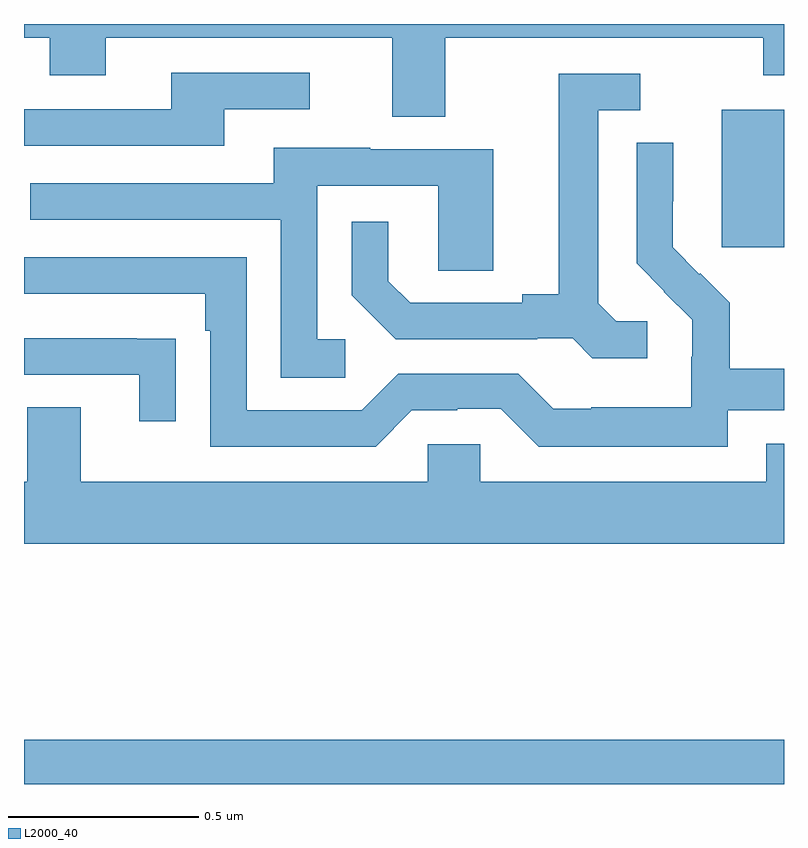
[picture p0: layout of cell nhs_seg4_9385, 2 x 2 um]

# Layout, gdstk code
import gdstk
lib = gdstk.Library(unit=1e-6, precision=1e-09)
def R(c, l, rs):  # rectangles x0, y0, x1, y1
    for r in rs: c.add(gdstk.rectangle(r[:2], r[2:], *l))
def P(c, l, *ps):  # polygons
    for p in ps: c.add(gdstk.Polygon(p, *l))
L2000_40 = (2000, 40)

nhs_seg4_9385 = lib.new_cell('nhs_seg4_9385')
R(nhs_seg4_9385, L2000_40, [(227,750.9,229,751.016), (228.836,752.313,229,752.674)])
P(nhs_seg4_9385, L2000_40, [(228.109,752.864),(228.946,752.864),(228.946,752.765),(229,752.765),(229,752.9),(227,752.9),(227,752.864),(227.068,752.864),(227.068,752.765),(227.215,752.765),(227.215,752.864),(227.969,752.864),(227.969,752.656),(228.109,752.656)],
  [(227.527,752.676),(227.752,752.676),(227.752,752.772),(227.387,752.772),(227.387,752.676),(227,752.676),(227,752.58),(227.527,752.58)],
  [(228.64,752.118),(228.558,752.118),(228.511,752.165),(228.511,752.673),(228.622,752.673),(228.622,752.769),(228.407,752.769),(228.407,752.189),(228.311,752.189),(228.311,752.166),(228.016,752.166),(227.959,752.223),(227.959,752.38),(227.862,752.38),(227.862,752.186),(227.978,752.07),(228.35,752.07),(228.35,752.073),(228.444,752.073),(228.496,752.021),(228.64,752.021)],
  [(228.852,751.884),(229,751.884),(229,751.993),(228.857,751.993),(228.857,752.167),(228.78,752.244),(228.777,752.241),(228.707,752.312),(228.707,752.434),(228.708,752.434),(228.708,752.588),(228.612,752.588),(228.612,752.27),(228.685,752.197),(228.684,752.196),(228.758,752.122),(228.758,752.025),(228.756,752.025),(228.756,751.891),(228.493,751.891),(228.493,751.887),(228.393,751.887),(228.3,751.98),(227.985,751.98),(227.889,751.884),(227.586,751.884),(227.586,752.286),(227,752.286),(227,752.19),(227.477,752.19),(227.477,752.093),(227.49,752.093),(227.49,751.788),(227.925,751.788),(228.021,751.884),(228.14,751.884),(228.14,751.887),(228.255,751.887),(228.355,751.787),(228.852,751.787)],
  [(227.845,752.07),(227.772,752.07),(227.772,752.475),(228.09,752.475),(228.09,752.251),(228.235,752.251),(228.235,752.571),(227.911,752.571),(227.911,752.575),(227.657,752.575),(227.657,752.481),(227.017,752.481),(227.017,752.385),(227.676,752.385),(227.676,751.969),(227.845,751.969)],
  [(227.399,752.072),(227.297,752.072),(227.297,752.073),(227,752.073),(227,751.977),(227.303,751.977),(227.303,751.854),(227.399,751.854)],
  [(229,751.795),(228.953,751.795),(228.953,751.696),(228.201,751.696),(228.201,751.794),(228.063,751.794),(228.063,751.696),(227.149,751.696),(227.149,751.891),(227.009,751.891),(227.009,751.696),(227,751.696),(227,751.532),(229,751.532)])

lib.write_gds('nhs_seg4_9385.gds')
